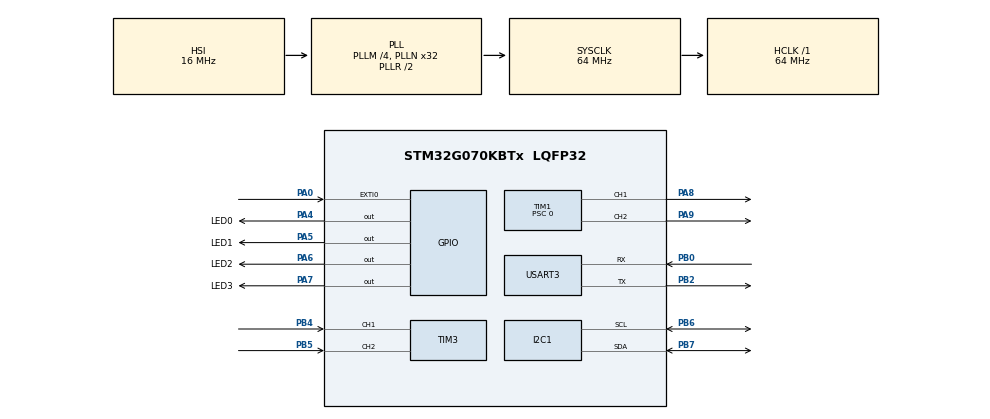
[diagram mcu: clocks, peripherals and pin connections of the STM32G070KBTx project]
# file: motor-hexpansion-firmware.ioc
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FREERTOS.Tasks01=defaultTask,0,128,StartDefaultTask,Default,NULL,Dynamic,NULL,NULL;encoderTask,0,128,startEncoderTask,Default,NULL,Dynamic,NULL,NULL
I2C1.DualAddressMode=I2C_DUALADDRESS_ENABLE
I2C1.OwnAddress=0x42
I2C1.OwnAddress2=0x50
I2C1.Timing=0x10707DBC
Mcu.Family=STM32G0
Mcu.Name=STM32G070KBTx
Mcu.Package=LQFP32
NVIC.I2C1_IRQn=true\:3\:0\:false\:false\:true\:true\:true\:true\:true
NVIC.TIM16_IRQn=true\:3\:0\:false\:false\:true\:false\:false\:true\:true
NVIC.TimeBase=TIM16_IRQn
NVIC.TimeBaseIP=TIM16
PA0.Signal=GPXTI0
PA13.Mode=Serial_Wire
PA13.Signal=SYS_SWDIO
PA14-BOOT0.Mode=Serial_Wire
PA14-BOOT0.Signal=SYS_SWCLK
PA4.GPIO_Label=LED0
PA4.Signal=GPIO_Output
PA5.GPIO_Label=LED1
PA5.Signal=GPIO_Output
PA6.GPIO_Label=LED2
PA6.Signal=GPIO_Output
PA7.GPIO_Label=LED3
PA7.Signal=GPIO_Output
PA8.Signal=S_TIM1_CH1
PA9.Signal=S_TIM1_CH2
PB0.Mode=Asynchronous
PB0.Signal=USART3_RX
PB2.Mode=Asynchronous
PB2.Signal=USART3_TX
PB4.Signal=S_TIM3_CH1
PB5.Signal=S_TIM3_CH2
PB6.Mode=I2C
PB6.Signal=I2C1_SCL
PB7.Mode=I2C
PB7.Signal=I2C1_SDA
ProjectManager.HeapSize=0x200
ProjectManager.StackSize=0x400
ProjectManager.TargetToolchain=Makefile
RCC.ADCFreq_Value=64000000
RCC.AHBFreq_Value=64000000
RCC.CortexFreq_Value=64000000
RCC.EXTERNAL_CLOCK_VALUE=48000
RCC.HCLKFreq_Value=64000000
RCC.HSE_VALUE=8000000
RCC.HSI_VALUE=16000000
RCC.LSE_VALUE=32768
RCC.PLLM=RCC_PLLM_DIV4
RCC.PLLN=32
RCC.SYSCLKFreq_VALUE=64000000
RCC.SYSCLKSource=RCC_SYSCLKSOURCE_PLLCLK
RCC.VCOOutputFreq_Value=128000000
SH.S_TIM1_CH1.0=TIM1_CH1,PWM Generation1 CH1
SH.S_TIM1_CH2.0=TIM1_CH2,PWM Generation2 CH2
SH.S_TIM3_CH1.0=TIM3_CH1,Encoder_Interface
SH.S_TIM3_CH2.0=TIM3_CH2,Encoder_Interface
TIM1.Channel-PWM\ Generation1\ CH1=TIM_CHANNEL_1
TIM1.Channel-PWM\ Generation2\ CH2=TIM_CHANNEL_2
TIM1.OCMode_PWM-PWM\ Generation1\ CH1=TIM_OCMODE_PWM2
TIM1.OCMode_PWM-PWM\ Generation2\ CH2=TIM_OCMODE_PWM2
TIM1.Period=3199
TIM1.Prescaler=0
TIM3.AutoReloadPreload=TIM_AUTORELOAD_PRELOAD_ENABLE
TIM3.EncoderMode=TIM_ENCODERMODE_TI12
USART3.VirtualMode-Asynchronous=VM_ASYNC
VP_FREERTOS_VS_CMSIS_V1.Mode=CMSIS_V1
VP_SYS_VS_DBSignals.Mode=DisableDeadBatterySignals
VP_SYS_VS_tim16.Mode=TIM16
board=custom

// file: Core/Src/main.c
/* USER CODE BEGIN Header */
/**
  ******************************************************************************
  * @file           : main.c
  * @brief          : Main program body
  ******************************************************************************
  * @attention
  *
  * Copyright (c) 2024 STMicroelectronics.
  * All rights reserved.
  *
  * This software is licensed under terms that can be found in the LICENSE file
  * in the root directory of this software component.
  * If no LICENSE file comes with this software, it is provided AS-IS.
  *
  ******************************************************************************
  */
/* USER CODE END Header */
#include "main.h"
#include "cmsis_os.h"

/* USER CODE BEGIN Includes */

#include <stdbool.h>

#include "FreeRTOS.h"
#include "task.h"

#include "i2c_slave_state_machine.h"

/* USER CODE END Includes */

I2C_HandleTypeDef hi2c1;

TIM_HandleTypeDef htim1;
TIM_HandleTypeDef htim3;

UART_HandleTypeDef huart3;

osThreadId defaultTaskHandle;
osThreadId encoderTaskHandle;

void SystemClock_Config(void);
static void MX_GPIO_Init(void);
static void MX_I2C1_Init(void);
static void MX_TIM1_Init(void);
static void MX_TIM3_Init(void);
static void MX_USART3_UART_Init(void);
void StartDefaultTask(void const * argument);
void startEncoderTask(void const * argument);

int main(void)
{

  /* MCU Configuration--------------------------------------------------------*/

  /* Reset of all peripherals, Initializes the Flash interface and the Systick. */
  HAL_Init();

  /* Configure the system clock */
  SystemClock_Config();

  /* Initialize all configured peripherals */
  MX_GPIO_Init();
  MX_I2C1_Init();
  MX_TIM1_Init();
  MX_TIM3_Init();
  MX_USART3_UART_Init();

  /* Create the thread(s) */
  /* definition and creation of defaultTask */
  osThreadDef(defaultTask, StartDefaultTask, osPriorityNormal, 0, 128);
  defaultTaskHandle = osThreadCreate(osThread(defaultTask), NULL);

  /* definition and creation of encoderTask */
  osThreadDef(encoderTask, startEncoderTask, osPriorityNormal, 0, 128);
  encoderTaskHandle = osThreadCreate(osThread(encoderTask), NULL);

  /* Start scheduler */
  osKernelStart();

  /* We should never get here as control is now taken by the scheduler */
  /* Infinite loop */
  while (1)
  {

  }
}

void SystemClock_Config(void)
{
  RCC_OscInitTypeDef RCC_OscInitStruct = {0};
  RCC_ClkInitTypeDef RCC_ClkInitStruct = {0};

  /** Configure the main internal regulator output voltage
  */
  HAL_PWREx_ControlVoltageScaling(PWR_REGULATOR_VOLTAGE_SCALE1);

  /** Initializes the RCC Oscillators according to the specified parameters
  * in the RCC_OscInitTypeDef structure.
  */
  RCC_OscInitStruct.OscillatorType = RCC_OSCILLATORTYPE_HSI;
  RCC_OscInitStruct.HSIState = RCC_HSI_ON;
  RCC_OscInitStruct.HSIDiv = RCC_HSI_DIV1;
  RCC_OscInitStruct.HSICalibrationValue = RCC_HSICALIBRATION_DEFAULT;
  RCC_OscInitStruct.PLL.PLLState = RCC_PLL_ON;
  RCC_OscInitStruct.PLL.PLLSource = RCC_PLLSOURCE_HSI;
  RCC_OscInitStruct.PLL.PLLM = RCC_PLLM_DIV4;
  RCC_OscInitStruct.PLL.PLLN = 32;
  RCC_OscInitStruct.PLL.PLLP = RCC_PLLP_DIV2;
  RCC_OscInitStruct.PLL.PLLR = RCC_PLLR_DIV2;
  if (HAL_RCC_OscConfig(&RCC_OscInitStruct) != HAL_OK)
  {
    Error_Handler();
  }

  /** Initializes the CPU, AHB and APB buses clocks
  */
  RCC_ClkInitStruct.ClockType = RCC_CLOCKTYPE_HCLK|RCC_CLOCKTYPE_SYSCLK
                              |RCC_CLOCKTYPE_PCLK1;
  RCC_ClkInitStruct.SYSCLKSource = RCC_SYSCLKSOURCE_PLLCLK;
  RCC_ClkInitStruct.AHBCLKDivider = RCC_SYSCLK_DIV1;
  RCC_ClkInitStruct.APB1CLKDivider = RCC_HCLK_DIV1;

  if (HAL_RCC_ClockConfig(&RCC_ClkInitStruct, FLASH_LATENCY_2) != HAL_OK)
  {
    Error_Handler();
  }
}

static void MX_I2C1_Init(void)
{

  hi2c1.Instance = I2C1;
  hi2c1.Init.Timing = 0x10707DBC;
  hi2c1.Init.OwnAddress1 = 132;
  hi2c1.Init.AddressingMode = I2C_ADDRESSINGMODE_7BIT;
  hi2c1.Init.DualAddressMode = I2C_DUALADDRESS_ENABLE;
  hi2c1.Init.OwnAddress2 = 160;
  hi2c1.Init.OwnAddress2Masks = I2C_OA2_NOMASK;
  hi2c1.Init.GeneralCallMode = I2C_GENERALCALL_DISABLE;
  hi2c1.Init.NoStretchMode = I2C_NOSTRETCH_DISABLE;
  if (HAL_I2C_Init(&hi2c1) != HAL_OK)
  {
    Error_Handler();
  }

  /** Configure Analogue filter
  */
  if (HAL_I2CEx_ConfigAnalogFilter(&hi2c1, I2C_ANALOGFILTER_ENABLE) != HAL_OK)
  {
    Error_Handler();
  }

  /** Configure Digital filter
  */
  if (HAL_I2CEx_ConfigDigitalFilter(&hi2c1, 0) != HAL_OK)
  {
    Error_Handler();
  }

}

static void MX_TIM1_Init(void)
{

  TIM_MasterConfigTypeDef sMasterConfig = {0};
  TIM_OC_InitTypeDef sConfigOC = {0};
  TIM_BreakDeadTimeConfigTypeDef sBreakDeadTimeConfig = {0};

  htim1.Instance = TIM1;
  htim1.Init.Prescaler = 0;
  htim1.Init.CounterMode = TIM_COUNTERMODE_UP;
  htim1.Init.Period = 3199;
  htim1.Init.ClockDivision = TIM_CLOCKDIVISION_DIV1;
  htim1.Init.RepetitionCounter = 0;
  htim1.Init.AutoReloadPreload = TIM_AUTORELOAD_PRELOAD_DISABLE;
  if (HAL_TIM_PWM_Init(&htim1) != HAL_OK)
  {
    Error_Handler();
  }
  sMasterConfig.MasterOutputTrigger = TIM_TRGO_RESET;
  sMasterConfig.MasterOutputTrigger2 = TIM_TRGO2_RESET;
  sMasterConfig.MasterSlaveMode = TIM_MASTERSLAVEMODE_DISABLE;
  if (HAL_TIMEx_MasterConfigSynchronization(&htim1, &sMasterConfig) != HAL_OK)
  {
    Error_Handler();
  }
  sConfigOC.OCMode = TIM_OCMODE_PWM2;
  sConfigOC.Pulse = 0;
  sConfigOC.OCPolarity = TIM_OCPOLARITY_HIGH;
  sConfigOC.OCNPolarity = TIM_OCNPOLARITY_HIGH;
  sConfigOC.OCFastMode = TIM_OCFAST_DISABLE;
  sConfigOC.OCIdleState = TIM_OCIDLESTATE_RESET;
  sConfigOC.OCNIdleState = TIM_OCNIDLESTATE_RESET;
  if (HAL_TIM_PWM_ConfigChannel(&htim1, &sConfigOC, TIM_CHANNEL_1) != HAL_OK)
  {
    Error_Handler();
  }
  if (HAL_TIM_PWM_ConfigChannel(&htim1, &sConfigOC, TIM_CHANNEL_2) != HAL_OK)
  {
    Error_Handler();
  }
  sBreakDeadTimeConfig.OffStateRunMode = TIM_OSSR_DISABLE;
  sBreakDeadTimeConfig.OffStateIDLEMode = TIM_OSSI_DISABLE;
  sBreakDeadTimeConfig.LockLevel = TIM_LOCKLEVEL_OFF;
  sBreakDeadTimeConfig.DeadTime = 0;
  sBreakDeadTimeConfig.BreakState = TIM_BREAK_DISABLE;
  sBreakDeadTimeConfig.BreakPolarity = TIM_BREAKPOLARITY_HIGH;
  sBreakDeadTimeConfig.BreakFilter = 0;
  sBreakDeadTimeConfig.BreakAFMode = TIM_BREAK_AFMODE_INPUT;
  sBreakDeadTimeConfig.Break2State = TIM_BREAK2_DISABLE;
  sBreakDeadTimeConfig.Break2Polarity = TIM_BREAK2POLARITY_HIGH;
  sBreakDeadTimeConfig.Break2Filter = 0;
  sBreakDeadTimeConfig.Break2AFMode = TIM_BREAK_AFMODE_INPUT;
  sBreakDeadTimeConfig.AutomaticOutput = TIM_AUTOMATICOUTPUT_DISABLE;
  if (HAL_TIMEx_ConfigBreakDeadTime(&htim1, &sBreakDeadTimeConfig) != HAL_OK)
  {
    Error_Handler();
  }
  HAL_TIM_MspPostInit(&htim1);

}

static void MX_TIM3_Init(void)
{

  TIM_Encoder_InitTypeDef sConfig = {0};
  TIM_MasterConfigTypeDef sMasterConfig = {0};

  htim3.Instance = TIM3;
  htim3.Init.Prescaler = 0;
  htim3.Init.CounterMode = TIM_COUNTERMODE_UP;
  htim3.Init.Period = 65535;
  htim3.Init.ClockDivision = TIM_CLOCKDIVISION_DIV1;
  htim3.Init.AutoReloadPreload = TIM_AUTORELOAD_PRELOAD_ENABLE;
  sConfig.EncoderMode = TIM_ENCODERMODE_TI12;
  sConfig.IC1Polarity = TIM_ICPOLARITY_RISING;
  sConfig.IC1Selection = TIM_ICSELECTION_DIRECTTI;
  sConfig.IC1Prescaler = TIM_ICPSC_DIV1;
  sConfig.IC1Filter = 0;
  sConfig.IC2Polarity = TIM_ICPOLARITY_RISING;
  sConfig.IC2Selection = TIM_ICSELECTION_DIRECTTI;
  sConfig.IC2Prescaler = TIM_ICPSC_DIV1;
  sConfig.IC2Filter = 0;
  if (HAL_TIM_Encoder_Init(&htim3, &sConfig) != HAL_OK)
  {
    Error_Handler();
  }
  sMasterConfig.MasterOutputTrigger = TIM_TRGO_RESET;
  sMasterConfig.MasterSlaveMode = TIM_MASTERSLAVEMODE_DISABLE;
  if (HAL_TIMEx_MasterConfigSynchronization(&htim3, &sMasterConfig) != HAL_OK)
  {
    Error_Handler();
  }

}

static void MX_USART3_UART_Init(void)
{

  huart3.Instance = USART3;
  huart3.Init.BaudRate = 115200;
  huart3.Init.WordLength = UART_WORDLENGTH_8B;
  huart3.Init.StopBits = UART_STOPBITS_1;
  huart3.Init.Parity = UART_PARITY_NONE;
  huart3.Init.Mode = UART_MODE_TX_RX;
  huart3.Init.HwFlowCtl = UART_HWCONTROL_NONE;
  huart3.Init.OverSampling = UART_OVERSAMPLING_16;
  huart3.Init.OneBitSampling = UART_ONE_BIT_SAMPLE_DISABLE;
  huart3.Init.ClockPrescaler = UART_PRESCALER_DIV1;
  huart3.AdvancedInit.AdvFeatureInit = UART_ADVFEATURE_NO_INIT;
  if (HAL_UART_Init(&huart3) != HAL_OK)
  {
    Error_Handler();
  }

}

static void MX_GPIO_Init(void)
{
  GPIO_InitTypeDef GPIO_InitStruct = {0};

  /* GPIO Ports Clock Enable */
  __HAL_RCC_GPIOA_CLK_ENABLE();
  __HAL_RCC_GPIOB_CLK_ENABLE();

  /*Configure GPIO pin Output Level */
  HAL_GPIO_WritePin(GPIOA, LED0_Pin|LED1_Pin|LED2_Pin|LED3_Pin, GPIO_PIN_RESET);

  /*Configure GPIO pin : PA0 */
  GPIO_InitStruct.Pin = GPIO_PIN_0;
  GPIO_InitStruct.Mode = GPIO_MODE_IT_RISING;
  GPIO_InitStruct.Pull = GPIO_NOPULL;
  HAL_GPIO_Init(GPIOA, &GPIO_InitStruct);

  /*Configure GPIO pins : LED0_Pin LED1_Pin LED2_Pin LED3_Pin */
  GPIO_InitStruct.Pin = LED0_Pin|LED1_Pin|LED2_Pin|LED3_Pin;
  GPIO_InitStruct.Mode = GPIO_MODE_OUTPUT_PP;
  GPIO_InitStruct.Pull = GPIO_NOPULL;
  GPIO_InitStruct.Speed = GPIO_SPEED_FREQ_LOW;
  HAL_GPIO_Init(GPIOA, &GPIO_InitStruct);

}

/* USER CODE BEGIN 4 */
#define FORWARD 1
#define BACKWARD 2
int direction = 0;

void set_pwm(int8_t duty) {
  if (duty < -100) {
    duty = -100;
  }
  if (duty > 100) {
    duty = 100;
  }
  uint32_t extended_duty;
  if (duty < 0) {
    extended_duty = htim1.Init.Period * -1 * duty;
    htim1.Instance->CCR1 = extended_duty / 100;
    htim1.Instance->CCR2 = 0;
  } else {
    extended_duty = htim1.Init.Period * duty;
    htim1.Instance->CCR1 = 0;
    htim1.Instance->CCR2 = extended_duty / 100;
  }

}
/* USER CODE END 4 */

/* USER CODE BEGIN Header_StartDefaultTask */
/**
  * @brief  Function implementing the defaultTask thread.
  * @param  argument: Not used
  * @retval None
  */

 char print_buffer[128];
/* USER CODE END Header_StartDefaultTask */
void StartDefaultTask(void const * argument)
{
  /* USER CODE BEGIN 5 */
  /* Infinite loop */
  set_pwm(0);
  HAL_TIM_PWM_Start(&htim1, TIM_CHANNEL_1);
  HAL_TIM_PWM_Start(&htim1, TIM_CHANNEL_2);

  HAL_I2C_EnableListen_IT(&hi2c1);

  for(;;)
  {
    ulTaskNotifyTake(pdTRUE, portMAX_DELAY);

    // something happened to the registers, check if any of the input values were changed
    taskENTER_CRITICAL();
    uint8_t new_spd = regs[0];
    taskEXIT_CRITICAL();

    set_pwm(new_spd);
  }
  /* USER CODE END 5 */
}

void startEncoderTask(void const * argument)
{
  /* USER CODE BEGIN startEncoderTask */
  HAL_TIM_Encoder_Start(&htim3, TIM_CHANNEL_ALL);
  /* Infinite loop */
  for(;;)
  {
    uint16_t enc_val = htim3.Instance->CNT;
    // update the registers in a critical section, and only if no I2C read
    // is going on so that the 16 bit value is always coherent
    taskENTER_CRITICAL();
    if (regs_locked == false) {
      regs[2] = enc_val >> 8;
      regs[3] = enc_val & 0xff;
    }
    taskEXIT_CRITICAL();
    osDelay(10);
  }
  /* USER CODE END startEncoderTask */
}

void HAL_TIM_PeriodElapsedCallback(TIM_HandleTypeDef *htim)
{
  if (htim->Instance == TIM16) {
    HAL_IncTick();
  }
}

void Error_Handler(void)
{
  __disable_irq();
  while (1)
  {
  }
}
